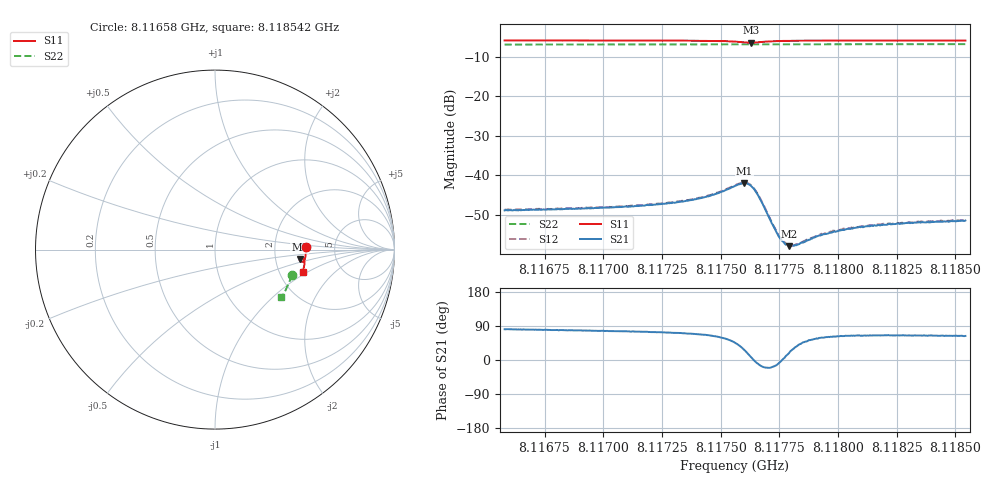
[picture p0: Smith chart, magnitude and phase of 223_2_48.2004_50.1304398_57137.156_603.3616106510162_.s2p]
#  HZ  S  RI  R  50.00
! Rohde & Schwarz Vector Network Analyzer
! Rohde-Schwarz,ZNB20-2Port,1311601062101988,3.16
! Created: UTC 3/20/2024, 11:46:02 AM
! freq[Hz]  re:S11  im:S11  re:S21  im:S21  re:S12  im:S12  re:S22  im:S22
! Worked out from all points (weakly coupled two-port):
!   401 points, 8.11658 GHz to 8.118542 GHz, reference 50 ohm
!   highest |S21| = -41.95 dB at 8.1176 GHz (marker M1); lowest = -57.9 dB at 8.117792 GHz (marker M2)
!   lowest |S11| = -6.5 dB at 8.11763 GHz (marker M3), VSWR 2.81, Z = 137 - j19.5 ohm
!   |S11| at or under -10 dB: nowhere
!   |S22| runs from -6.9 to -6.8 dB; largest |S21 - S12| = 0.0002
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8.11658e9  0.5066 0.0151  0.000555 0.00358  0.000604 0.00365  0.4272 -0.1412
8.1169087e9  0.5063 -0.0102  0.000797 0.00374  0.000849 0.00381  0.4203 -0.163
8.1172374e9  0.5039 -0.0368  0.00123 0.00416  0.00132 0.00421  0.4123 -0.1846
8.1173404e9  0.5023 -0.0459  0.00157 0.00442  0.00164 0.00449  0.4096 -0.1912
8.1174238e9  0.4999 -0.0542  0.00204 0.00483  0.00212 0.0049  0.4071 -0.1967
8.1174826e9  0.4966 -0.0607  0.00276 0.0052  0.00291 0.0053  0.4053 -0.2005
8.1175611e9  0.4851 -0.0684  0.00517 0.00528  0.00529 0.00533  0.4026 -0.2056
8.1176004e9  0.4748 -0.065  0.00711 0.00363  0.00728 0.00362  0.401 -0.2074
8.1176151e9  0.4719 -0.0607  0.00749 0.00233  0.00767 0.00231  0.4005 -0.2081
8.1176298e9  0.4717 -0.0551  0.00731 0.000935  0.00745 0.000882  0.4002 -0.2087
8.1176445e9  0.4742 -0.05  0.00659 -0.000276  0.00669 -0.000377  0.4001 -0.2095
8.1176642e9  0.4798 -0.0465  0.00517 -0.00115  0.00527 -0.00125  0.3997 -0.2104
8.1177476e9  0.4955 -0.0545  0.00169 -0.000249  0.00167 -0.000287  0.398 -0.2161
8.1177672e9  0.4968 -0.0571  0.00145 8.66e-05  0.00147 7.27e-05  0.3974 -0.2172
8.1177917e9  0.4978 -0.0603  0.00121 0.000411  0.00127 0.000442  0.3966 -0.2189
8.1178211e9  0.4985 -0.0639  0.00107 0.000757  0.00112 0.000768  0.3957 -0.221
8.1178898e9  0.4987 -0.0715  0.000947 0.00129  0.000953 0.00133  0.3935 -0.2253
8.1179192e9  0.4988 -0.0741  0.000918 0.00149  0.000993 0.00147  0.3925 -0.2273
8.1180174e9  0.4978 -0.0831  0.000927 0.00183  0.00098 0.00183  0.3893 -0.2333
8.1180909e9  0.497 -0.0893  0.000947 0.00204  0.000979 0.00202  0.3869 -0.2379
8.1182185e9  0.4951 -0.0994  0.00103 0.00222  0.00106 0.00223  0.3824 -0.2456
8.1185423e9  0.4895 -0.1238  0.00121 0.00242  0.00124 0.00245  0.3703 -0.265
